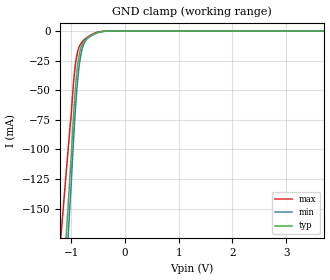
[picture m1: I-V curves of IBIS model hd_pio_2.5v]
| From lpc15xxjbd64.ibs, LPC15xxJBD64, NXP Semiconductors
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[Model] hd_pio_2.5v
Model_type Input
Vinl = 990.000mV
Vinh = 2.31000V
C_comp 598.000fF 598.000fF 598.000fF
| variable typ   min   max
[Voltage Range] 2.50000V 2.25000V 2.75000V
[POWER Clamp Reference] 2.50000V 2.25000V 2.75000V
[GND Clamp Reference] 0.00000V 0.00000V 0.00000V
[Temperature Range]   25   85   -40
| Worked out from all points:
|   GND clamp passes 1 mA (typ) near -0.49 V on its own axis
[GND Clamp]
-2.5V     -1.219A    -1.334A    -886mA
-1.02V    -120mA     -144.3mA   -80.04mA
-1V       -106.5mA   -129.2mA   -70.92mA
-960mV    -73.92mA   -95.1mA    -45.49mA
-920mV    -47.27mA   -65.11mA   -27.49mA
-880mV    -28.66mA   -41.65mA   -17.27mA
-840mV    -17.58mA   -25.47mA   -12.14mA
-800mV    -11.7mA    -15.74mA   -9.357mA
-760mV    -8.541mA   -10.37mA   -7.463mA
-580mV    -2.501mA   -2.825mA   -2.036mA
-280mV    0A         0A         0A
5V        0A         0A         0A
[POWER Clamp]
-2.5V     0A         0A         0A
5V        0A         0A         0A
